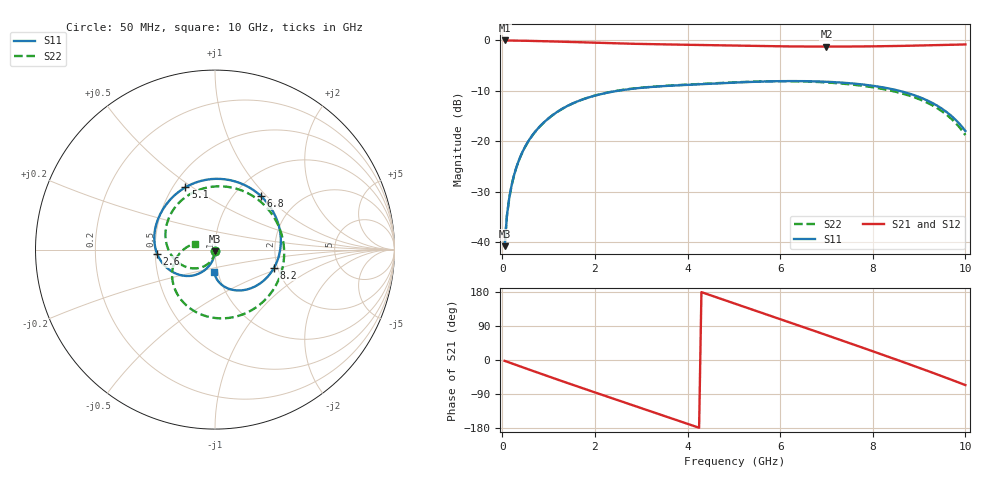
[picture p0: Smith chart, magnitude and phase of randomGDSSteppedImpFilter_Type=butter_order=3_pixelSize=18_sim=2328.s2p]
! freq	dB(S11)	phase(S11)	dB(S12)	phase(S12)
!  dB(S21)	phase(S21)	dB(S22)	phase(S22)
!S-par simulation data
#  GHz  S  DB  R 50
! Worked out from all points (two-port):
!   200 points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, 50 MHz to 10 GHz, reference 50 ohm
!   highest |S21| = 0.00 dB at 50 MHz (marker M1); lowest = -1.2 dB at 7 GHz (marker M2)
!   |S21| within 3 dB of the highest: start of sweep to end of sweep
!   lowest |S11| = -40.7 dB at 50 MHz (marker M3), VSWR 1.02, Z = 50 - j0.918 ohm
!   |S11| at or under -10 dB: start of sweep to 2.472 GHz; 8.585 GHz to end of sweep
!   |S22| runs from -40.7 to -8.1 dB; largest |S21 - S12| = 0
!   S11 on the Smith chart (normalised r, x): 50 MHz: 1.00, -0.02; 2.6 GHz: 0.51, -0.03; 5.1 GHz: 0.58, +0.47; 6.8 GHz: 1.31, +0.93; 8.2 GHz: 1.92, -0.44; 10 GHz: 0.96, -0.25
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0.05  -40.73 -91.6  -0.00 -2.2  -0.00 -2.2  -40.73 -92.4
0.1  -34.72 -93.6  -0.01 -4.4  -0.01 -4.4  -34.72 -95.2
0.2  -28.72 -97.4  -0.02 -8.8  -0.02 -8.8  -28.74 -100.6
0.35  -23.92 -102.9  -0.04 -15.3  -0.04 -15.3  -23.96 -108.6
0.5  -20.92 -108.4  -0.07 -21.9  -0.07 -21.9  -20.96 -116.5
1  -15.41 -125.8  -0.18 -43.4  -0.18 -43.4  -15.42 -142.4
1.75  -11.63 -150.6  -0.39 -75.1  -0.39 -75.1  -11.63 178.6
2.6  -9.82 -175.8  -0.61 -110.3  -0.61 -110.3  -9.79 133.3
3.4  -9.09 162.6  -0.76 -143.4  -0.76 -143.4  -9.06 88.9
4.2  -8.70 141.6  -0.89 -176.7  -0.89 -176.7  -8.65 43.6
5.05  -8.33 117.0  -1.03 147.7  -1.03 147.7  -8.28 -2.3
5.1  -8.31 115.4  -1.04 145.6  -1.04 145.6  -8.26 -4.8
5.95  -8.07 85.3  -1.16 109.9  -1.16 109.9  -8.06 -44.8
6.7  -8.09 54.1  -1.21 78.4  -1.21 78.4  -8.18 -75.1
6.8  -8.12 49.7  -1.22 74.2  -1.22 74.2  -8.22 -78.8
7  -8.18 40.6  -1.22 65.7  -1.22 65.7  -8.32 -86.1
7.65  -8.59 9.8  -1.20 38.1  -1.20 38.1  -8.84 -108.7
8.2  -9.26 -17.0  -1.14 14.4  -1.14 14.4  -9.59 -127.1
8.35  -9.52 -24.3  -1.12 7.9  -1.12 7.9  -9.87 -132.1
9.15  -11.77 -61.8  -0.97 -27.2  -0.97 -27.2  -12.22 -160.2
9.65  -14.58 -82.2  -0.86 -49.9  -0.86 -49.9  -15.14 179.8
10  -17.93 -91.3  -0.79 -66.2  -0.79 -66.2  -18.75 163.4
